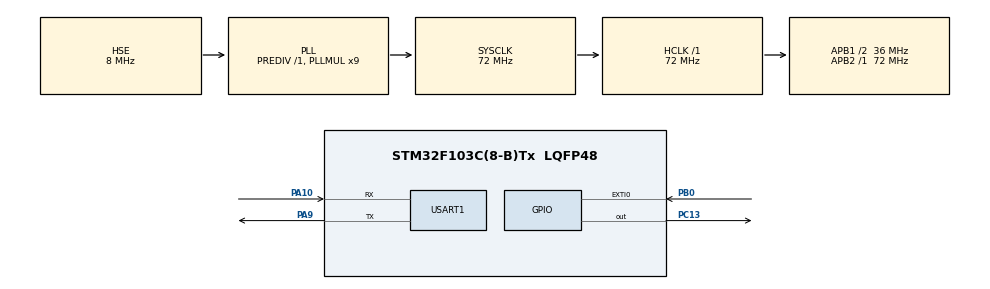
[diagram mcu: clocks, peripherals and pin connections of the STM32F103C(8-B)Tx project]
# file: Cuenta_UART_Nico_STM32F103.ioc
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Mcu.Family=STM32F1
Mcu.Name=STM32F103C(8-B)Tx
Mcu.Package=LQFP48
NVIC.EXTI0_IRQn=true\:0\:0\:false\:false\:true\:true\:true
NVIC.PriorityGroup=NVIC_PRIORITYGROUP_4
NVIC.USART1_IRQn=true\:0\:0\:false\:false\:true\:true\:true
PA10.Mode=Asynchronous
PA10.Signal=USART1_RX
PA13.Mode=Serial_Wire
PA13.Signal=SYS_JTMS-SWDIO
PA14.Mode=Serial_Wire
PA14.Signal=SYS_JTCK-SWCLK
PA9.Mode=Asynchronous
PA9.Signal=USART1_TX
PB0.GPIO_ModeDefaultEXTI=GPIO_MODE_IT_FALLING
PB0.GPIO_PuPd=GPIO_PULLUP
PB0.Signal=GPXTI0
PC13-TAMPER-RTC.Signal=GPIO_Output
PD0-OSC_IN.Mode=HSE-External-Oscillator
PD0-OSC_IN.Signal=RCC_OSC_IN
PD1-OSC_OUT.Mode=HSE-External-Oscillator
PD1-OSC_OUT.Signal=RCC_OSC_OUT
ProjectManager.HeapSize=0x200
ProjectManager.StackSize=0x400
ProjectManager.TargetToolchain=STM32CubeIDE
RCC.AHBFreq_Value=72000000
RCC.APB1CLKDivider=RCC_HCLK_DIV2
RCC.APB1Freq_Value=36000000
RCC.APB1TimFreq_Value=72000000
RCC.APB2Freq_Value=72000000
RCC.APB2TimFreq_Value=72000000
RCC.HCLKFreq_Value=72000000
RCC.PLLMUL=RCC_PLL_MUL9
RCC.PLLSourceVirtual=RCC_PLLSOURCE_HSE
RCC.SYSCLKFreq_VALUE=72000000
RCC.SYSCLKSource=RCC_SYSCLKSOURCE_PLLCLK
RCC.USBFreq_Value=72000000
USART1.VirtualMode=VM_ASYNC
board=custom

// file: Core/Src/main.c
/* USER CODE BEGIN Header */
/**
  ******************************************************************************
  * @file           : main.c
  * @brief          : Main program body
  ******************************************************************************
  * @attention
  *
  * <h2><center>&copy; Copyright (c) 2020 STMicroelectronics.
  * All rights reserved.</center></h2>
  *
  * This software component is licensed by ST under BSD 3-Clause license,
  * the "License"; You may not use this file except in compliance with the
  * License. You may obtain a copy of the License at:
  *                        opensource.org/licenses/BSD-3-Clause
  *
  ******************************************************************************
  */
/* USER CODE END Header */

#include "main.h"
#include "usart.h"
#include "gpio.h"

/* USER CODE BEGIN Includes */
#include "stdlib.h"		//para usar variables del tipo char es necesario incluir esta biblioteca
#include "string.h"
/* USER CODE END Includes */

/* USER CODE BEGIN PV */
char texto [1];			//no tiene nada dentro es un char de 1 byte. Puede ser un vector
volatile int16_t num = -1;	//variable de la cuenta
volatile uint8_t start = 1;		//variable flag del pulsador
/* USER CODE END PV */

void SystemClock_Config(void);

int main(void)
{

  /* MCU Configuration--------------------------------------------------------*/

  /* Reset of all peripherals, Initializes the Flash interface and the Systick. */
  HAL_Init();

  /* Configure the system clock */
  SystemClock_Config();

  /* Initialize all configured peripherals */
  MX_GPIO_Init();
  MX_USART1_UART_Init();
  /* USER CODE BEGIN 2 */
  HAL_GPIO_WritePin(GPIOC, GPIO_PIN_13, 1);
  HAL_UART_Receive_IT(&huart1, (uint8_t*)texto, 1);	//* es de puntero se inicia siempre al principio
  /* USER CODE END 2 */

  /* Infinite loop */
  while (1)
  {

    /* USER CODE BEGIN 3 */
	  if (start == 0)		//pregunto si se activo el pulsador para iniciar la primer secuencia
	  {
		  num = 0;
		  start = 1;
	  }
	  if (num >= 0)		//pregunta si se recibio algun dato condicion de num != 0 dice que existe
	  {
		  num ++;	//suma 1 al valor anterior

		  for (int i = 1; i <= num; i++)
		  {
			  HAL_GPIO_TogglePin(GPIOC, GPIO_PIN_13);
			  HAL_Delay(250);
			  HAL_GPIO_TogglePin(GPIOC, GPIO_PIN_13);
			  HAL_Delay(250);
		  }

		  itoa (num, texto, 10);
		  HAL_UART_Transmit_IT(&huart1, (uint8_t*)texto, sizeof (texto));
		  num = -1;
	  }
  }
  /* USER CODE END 3 */
}

void SystemClock_Config(void)
{
  RCC_OscInitTypeDef RCC_OscInitStruct = {0};
  RCC_ClkInitTypeDef RCC_ClkInitStruct = {0};

  /** Initializes the CPU, AHB and APB busses clocks
  */
  RCC_OscInitStruct.OscillatorType = RCC_OSCILLATORTYPE_HSE;
  RCC_OscInitStruct.HSEState = RCC_HSE_ON;
  RCC_OscInitStruct.HSEPredivValue = RCC_HSE_PREDIV_DIV1;
  RCC_OscInitStruct.HSIState = RCC_HSI_ON;
  RCC_OscInitStruct.PLL.PLLState = RCC_PLL_ON;
  RCC_OscInitStruct.PLL.PLLSource = RCC_PLLSOURCE_HSE;
  RCC_OscInitStruct.PLL.PLLMUL = RCC_PLL_MUL9;
  if (HAL_RCC_OscConfig(&RCC_OscInitStruct) != HAL_OK)
  {
    Error_Handler();
  }
  /** Initializes the CPU, AHB and APB busses clocks
  */
  RCC_ClkInitStruct.ClockType = RCC_CLOCKTYPE_HCLK|RCC_CLOCKTYPE_SYSCLK
                              |RCC_CLOCKTYPE_PCLK1|RCC_CLOCKTYPE_PCLK2;
  RCC_ClkInitStruct.SYSCLKSource = RCC_SYSCLKSOURCE_PLLCLK;
  RCC_ClkInitStruct.AHBCLKDivider = RCC_SYSCLK_DIV1;
  RCC_ClkInitStruct.APB1CLKDivider = RCC_HCLK_DIV2;
  RCC_ClkInitStruct.APB2CLKDivider = RCC_HCLK_DIV1;

  if (HAL_RCC_ClockConfig(&RCC_ClkInitStruct, FLASH_LATENCY_2) != HAL_OK)
  {
    Error_Handler();
  }
}

/* USER CODE BEGIN 4 */
void HAL_UART_RxCpltCallback(UART_HandleTypeDef *huart)
{
	num = atoi (texto); //convierte el codigo aski de texto a numero

}
void HAL_UART_TxCpltCallback(UART_HandleTypeDef *huart)
{
	HAL_UART_Receive_IT(&huart1, (uint8_t*)texto, 1);
}
void HAL_GPIO_EXTI_Callback(uint16_t GPIO_Pin) //funcion de respuesta a la interrupcion, determina el flag que dice que interrumpio
{
	start = 0;
}
/* USER CODE END 4 */

void Error_Handler(void)
{
}

/************************ (C) COPYRIGHT STMicroelectronics *****END OF FILE****/
